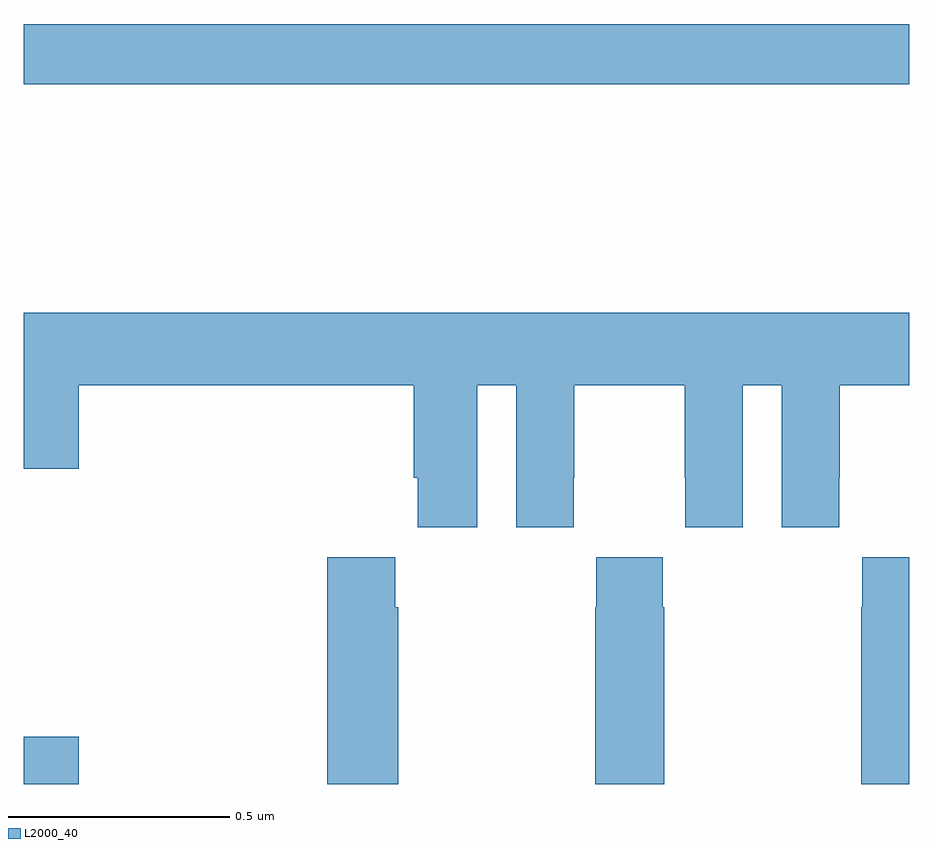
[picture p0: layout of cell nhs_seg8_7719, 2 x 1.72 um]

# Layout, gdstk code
import gdstk
lib = gdstk.Library(unit=1e-6, precision=1e-09)
def R(c, l, rs):  # rectangles x0, y0, x1, y1
    for r in rs: c.add(gdstk.rectangle(r[:2], r[2:], *l))
def P(c, l, *ps):  # polygons
    for p in ps: c.add(gdstk.Polygon(p, *l))
L2000_40 = (2000, 40)

nhs_seg8_7719 = lib.new_cell('nhs_seg8_7719')
R(nhs_seg8_7719, L2000_40, [(213,1148.9,213.124,1149.007), (213,1150.48,215,1150.616)])
P(nhs_seg8_7719, L2000_40, [(214.024,1149.8),(214.112,1149.8),(214.112,1149.48),(214.242,1149.48),(214.242,1149.592),(214.243,1149.592),(214.243,1149.8),(214.493,1149.8),(214.493,1149.592),(214.494,1149.592),(214.494,1149.48),(214.624,1149.48),(214.624,1149.8),(214.712,1149.8),(214.712,1149.48),(214.842,1149.48),(214.842,1149.592),(214.843,1149.592),(214.843,1149.8),(215,1149.8),(215,1149.964),(213,1149.964),(213,1149.612),(213.124,1149.612),(213.124,1149.8),(213.881,1149.8),(213.881,1149.592),(213.89,1149.592),(213.89,1149.48),(214.024,1149.48)],
  [(213.846,1149.299),(213.839,1149.299),(213.839,1149.412),(213.686,1149.412),(213.686,1148.9),(213.846,1148.9)],
  [(214.446,1149.299),(214.443,1149.299),(214.443,1149.412),(214.293,1149.412),(214.293,1149.299),(214.291,1149.299),(214.291,1148.9),(214.446,1148.9)],
  [(215,1149.412),(214.893,1149.412),(214.893,1149.299),(214.891,1149.299),(214.891,1148.9),(215,1148.9)])

lib.write_gds('nhs_seg8_7719.gds')
